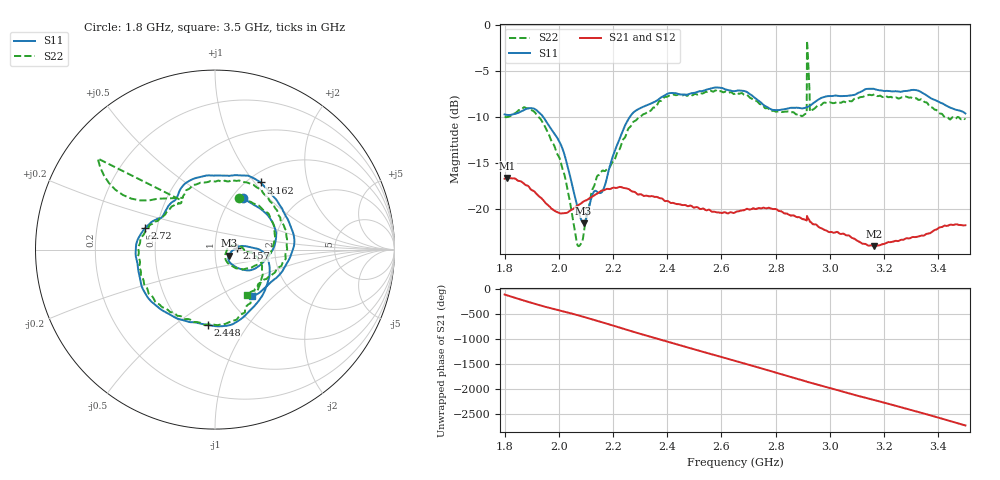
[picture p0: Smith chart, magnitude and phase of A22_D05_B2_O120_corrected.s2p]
! Created with skrf 1.9.0 (http://scikit-rf.org).
# Hz S RI R 50.0
!freq ReS11 ImS11 ReS21 ImS21 ReS12 ImS12 ReS22 ImS22
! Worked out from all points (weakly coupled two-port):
!   1601 points, 1.8 GHz to 3.5 GHz, reference 50 ohm
!   highest |S21| = -16.58 dB at 1.811 GHz (marker M1); lowest = -24.0 dB at 3.162 GHz (marker M2)
!   lowest |S11| = -21.5 dB at 2.091 GHz (marker M3), VSWR 1.18, Z = 58.2 - j3.87 ohm
!   |S11| at or under -10 dB: 1.944 GHz to 2.261 GHz (317.2 MHz wide, 15.1 % of centre)
!   |S22| runs from -24.0 to -1.6 dB; largest |S21 - S12| = 0.0027
!   S11 on the Smith chart (normalised r, x): 1.8 GHz: 1.13, +0.73; 2.157 GHz: 1.28, +0.02; 2.448 GHz: 0.65, -0.67; 2.72 GHz: 0.43, +0.12; 3.162 GHz: 1.14, +1.07; 3.5 GHz: 1.28, -0.75
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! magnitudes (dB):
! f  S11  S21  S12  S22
! 1.8 GHz  -9.7  -16.7  -16.7  -10.0
! 1.811 GHz  -9.7  -16.6  -16.6  -9.9
! 1.88 GHz  -9.1  -17.4  -17.4  -9.0
! 1.94 GHz  -9.9  -18.9  -18.9  -10.5
! 2.013 GHz  -13.3  -20.4  -20.4  -15.5
! 2.066 GHz  -19.4  -19.7  -19.6  -23.5
! 2.084 GHz  -21.2  -19.3  -19.3  -23.7
! 2.091 GHz  -21.5  -19.1  -19.2  -22.8
! 2.125 GHz  -18.3  -18.6  -18.6  -17.8
! 2.157 GHz  -18.2  -18.0  -18.0  -15.9
! 2.258 GHz  -10.1  -17.8  -17.8  -11.2
! 2.367 GHz  -8.1  -18.7  -18.7  -8.4
! 2.448 GHz  -7.5  -19.5  -19.5  -7.5
! 2.65 GHz  -7.1  -20.3  -20.3  -7.4
! 2.72 GHz  -7.8  -19.9  -19.8  -8.2
! 2.901 GHz  -9.0  -21.0  -21.1  -9.8
! 2.916 GHz  -8.9  -20.7  -20.7  -1.6
! 2.924 GHz  -8.8  -21.2  -21.1  -6.8
! 2.934 GHz  -8.6  -21.5  -21.5  -9.2
! 3.162 GHz  -6.9  -24.0  -23.9  -7.5
! 3.217 GHz  -7.1  -23.6  -23.5  -7.8
! 3.5 GHz  -9.6  -21.7  -21.7  -10.2
